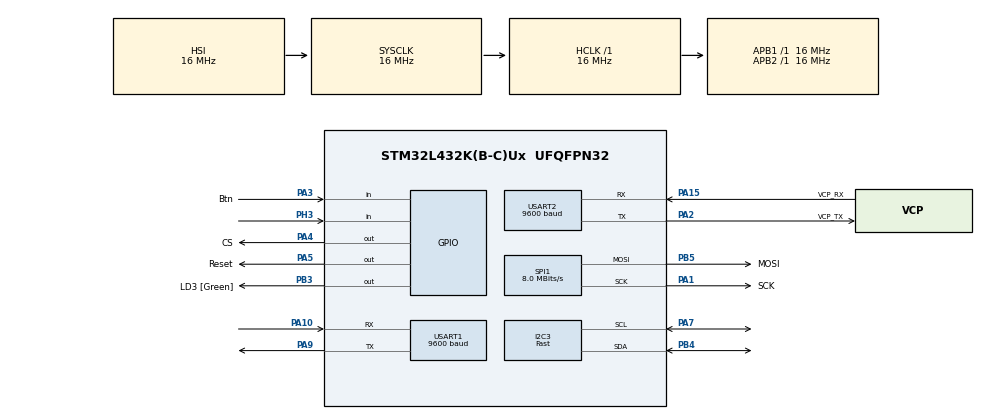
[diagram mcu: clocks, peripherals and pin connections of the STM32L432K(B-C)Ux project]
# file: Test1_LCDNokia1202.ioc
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Mcu.Family=STM32L4
RCC.CortexFreq_Value=16000000
SPI1.VirtualType=VM_MASTER
NVIC.TIM6_DAC_IRQn=true\:0\:0\:false\:false\:true\:true\:true
USART1.BaudRate=9600
PA3.GPIO_PuPd=GPIO_PULLUP
PA0.GPIO_Label=MCO [High speed clock in]
PA15\ (JTDI).Signal=USART2_RX
PC15-OSC32_OUT\ (PC15).Mode=LSE-External-Oscillator
RCC.SYSCLKSource=RCC_SYSCLKSOURCE_HSI
ProjectManager.StackSize=0x400
PB3\ (JTDO-TRACESWO).Signal=GPIO_Output
PC14-OSC32_IN\ (PC14).Mode=LSE-External-Oscillator
PA14\ (JTCK-SWCLK).Signal=SYS_JTCK-SWCLK
PA15\ (JTDI).Mode=Asynchronous
SPI1.Direction=SPI_DIRECTION_2LINES
RCC.HCLKFreq_Value=16000000
RCC.APB2TimFreq_Value=16000000
SPI1.CalculateBaudRate=8.0 MBits/s
RCC.AHBFreq_Value=16000000
I2C3.Speed=200
RCC.HSE_VALUE=8000000
USART2.VirtualMode-Asynchronous=VM_ASYNC
RCC.PLLMUL=RCC_PLLMUL_4
PA4.GPIO_Speed=GPIO_SPEED_FREQ_HIGH
NVIC.I2C3_EV_IRQn=true\:0\:0\:false\:false\:true\:true\:true
PB5.Mode=TX_Only_Simplex_Unidirect_Master
SPI1.DataSize=SPI_DATASIZE_9BIT
PA0.Mode=HSE-External-Clock-Source-for-LittleOrca
TIM6.Period=99
PA0.Signal=RCC_CK_IN
PH3-BOOT0.Signal=GPIO_Input
Mcu.Package=UFQFPN32
PA2.GPIO_Label=VCP_TX
PA10.Signal=USART1_RX
I2C3.Timing=0x00100B3D
PB5.GPIO_Label=MOSI
RCC.APB1TimFreq_Value=16000000
PA13\ (JTMS-SWDIO).Signal=SYS_JTMS-SWDIO
SPI1.BaudRatePrescaler=SPI_BAUDRATEPRESCALER_2
PA4.GPIO_Label=CS
RCC.HSI48_VALUE=48000000
PA3.Signal=GPIO_Input
RCC.MSI_VALUE=4000000
RCC.PLLSourceVirtual=RCC_PLLSOURCE_HSI
PA14\ (JTCK-SWCLK).Mode=Serial_Wire
PC15-OSC32_OUT\ (PC15).GPIO_Label=RCC_OUT
PA7.Mode=I2C
PA10.Mode=Asynchronous
TIM6.Prescaler=47999
VP_TIM6_VS_ClockSourceINT.Mode=Enable_Timer
PC15-OSC32_OUT\ (PC15).Signal=RCC_OSC32_OUT
PA14\ (JTCK-SWCLK).GPIO_Label=SWCLK
PB3\ (JTDO-TRACESWO).GPIO_Label=LD3 [Green]
PB3\ (JTDO-TRACESWO).GPIO_PuPd=GPIO_NOPULL
USART2.BaudRate=9600
USART1.VirtualMode-Asynchronous=VM_ASYNC
RCC.HSI16_VALUE=16000000
PA9.Mode=Asynchronous
ProjectManager.TargetToolchain=STM32CubeIDE
PA9.Signal=USART1_TX
RCC.USBFreq_Value=64000000
PA1.Signal=SPI1_SCK
PA5.Signal=GPIO_Output
board=NUCLEO-L432KC
RCC.VCOOutputFreq_Value=256000000
RCC.APB2Freq_Value=16000000
PA1.Mode=TX_Only_Simplex_Unidirect_Master
PA13\ (JTMS-SWDIO).GPIO_Label=SWDIO
SPI1.Mode=SPI_MODE_MASTER
RCC.ADCFreq_Value=64000000
PA1.GPIO_Label=SCK
PB4\ (NJTRST).Mode=I2C
PA15\ (JTDI).GPIO_Label=VCP_RX
Mcu.Name=STM32L432K(B-C)Ux
PA2.Signal=USART2_TX
PA13\ (JTMS-SWDIO).Mode=Serial_Wire
PA4.Signal=GPIO_Output
RCC.SYSCLKFreq_VALUE=16000000
PB5.Signal=SPI1_MOSI
PA5.GPIO_Label=Reset
PC14-OSC32_IN\ (PC14).Signal=RCC_OSC32_IN
ProjectManager.HeapSize=0x200
RCC.HSI_VALUE=16000000
PA5.GPIO_Speed=GPIO_SPEED_FREQ_LOW
NVIC.PriorityGroup=NVIC_PRIORITYGROUP_4
RCC.PLLN=16
PA2.Mode=Asynchronous
PB3\ (JTDO-TRACESWO).GPIO_Speed=GPIO_SPEED_FREQ_LOW
RCC.APB1Freq_Value=16000000
USART2.Mode=MODE_TX
PA3.GPIO_Label=Btn
PA7.Signal=I2C3_SCL
I2C3.I2C_Speed_Mode=I2C_Fast
PB4\ (NJTRST).Signal=I2C3_SDA

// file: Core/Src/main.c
/* USER CODE BEGIN Header */
/**
  ******************************************************************************
  * @file           : main.c
  * @brief          : Main program body
  ******************************************************************************
  * @attention
  *
  * <h2><center>&copy; Copyright (c) 2021 STMicroelectronics.
  * All rights reserved.</center></h2>
  *
  * This software component is licensed by ST under BSD 3-Clause license,
  * the "License"; You may not use this file except in compliance with the
  * License. You may obtain a copy of the License at:
  *                        opensource.org/licenses/BSD-3-Clause
  *
  ******************************************************************************
  */
/* USER CODE END Header */
#include "main.h"

I2C_HandleTypeDef hi2c3;

SPI_HandleTypeDef hspi1;

TIM_HandleTypeDef htim6;

UART_HandleTypeDef huart1;
UART_HandleTypeDef huart2;

void SystemClock_Config(void);
static void MX_GPIO_Init(void);
static void MX_USART2_UART_Init(void);
static void MX_SPI1_Init(void);
static void MX_I2C3_Init(void);
static void MX_USART1_UART_Init(void);
static void MX_TIM6_Init(void);

/* USER CODE BEGIN 0 */
uint16_t pause = 100;

#include "main.h"
#include "n1202.h"
#include "stdlib.h"

char str1[100];

void FloatToStringNew(char *str, float f, char size)

{

char pos;  // position in string

    char len;  // length of decimal part of result

    char* curr;  // temp holder for next digit

    int value;  // decimal digit(s) to convert

    pos = 0;  // initialize pos, just to be sure

    value = (int)f;  // truncate the floating point number
    itoa(value,str, 10);  // this is kinda dangerous depending on the length of str
    // now str array has the digits before the decimal

    if (f < 0 )  // handle negative numbers
    {
        f *= -1;
        value *= -1;
    }

     len = strlen(str);  // find out how big the integer part was
    pos = len;  // position the pointer to the end of the integer part
    str[pos++] = '.';  // add decimal point to string

    while(pos < (size + len + 1) )  // process remaining digits
    {
        f = f - (float)value;  // hack off the whole part of the number
        f *= 10;  // move next digit over
        value = (int)f;  // get next digit
        itoa(value, curr, 10); // convert digit to string
        str[pos++] = *curr; // add digit to result string and increment pointer
    }
 }

//***********************
//Display
//***********************

//#define soft_SPI //реализация софтверного SPI если ваш контроллер не поддерживает работу в 9 битнои режиме
#define HAL	//если используем HAL раскомментируйте эту строку
#define RESET_Pin Reset_Pin

#define CS_GPIO_Port GPIOA
#define RESET_GPIO_Port GPIOA

#define MOSI_GPIO_Port GPIOB
#define SCK_GPIO_Port GPIOA

uint8_t _LCD_RAM[LCD_X*9]; // Память нашего LCD

void delay_us ( uint32_t us )
{
volatile uint32_t delay = (us * (SystemCoreClock / 1000000)/8);
while (delay--);
}

void delay_ms ( uint32_t ms )
{
volatile uint32_t delay = (ms * (SystemCoreClock / 1000)/8);
while (delay--);
}

void LCD_SendByte(uint8_t mode, uint8_t c)
	{
		uint8_t SPI_Data[2];

		HAL_GPIO_WritePin(CS_GPIO_Port, CS_Pin, GPIO_PIN_RESET);
		SPI_Data[0] = c;
		SPI_Data[1] = mode;
		HAL_SPI_Transmit(&hspi1, SPI_Data, 1, 5);
		//delay_us(1);
		HAL_GPIO_WritePin(CS_GPIO_Port, CS_Pin, GPIO_PIN_SET);
	}

	// Очистка памяти дисплея
void LCD_Clear(void) {
	 for (int index = 0; index < 864 ; index++){
	_LCD_RAM[index] = (0x00);
	 }
}

// Обновляем данные на экране
void LCD_Update(void) {
  for(uint8_t p = 0; p < 9; p++) {
    LCD_SendByte(LCD_C, SetYAddr | p);
    LCD_SendByte(LCD_C, SetXAddr4);
    LCD_SendByte(LCD_C, SetXAddr3);
    for(uint8_t col=0; col < LCD_X; col++){
      LCD_SendByte(LCD_D, _LCD_RAM[(LCD_X * p) + col]);
    }
  }
}

// Рисование пикселя по координатам и цвету
void LCD_DrawPixel (uint8_t x, uint8_t y, uint8_t color) {
  if ((x < 0) || (x >= LCD_X) || (y < 0) || (y >= LCD_Y)) return;

  if (color) _LCD_RAM[x+ (y/8)*LCD_X] |= 1<<(y%8);
  else       _LCD_RAM[x+ (y/8)*LCD_X] &= ~(1<<(y%8));
}

// Рисование линии
void LCD_DrawLine(uint8_t x0, uint8_t y0, uint8_t x1, uint8_t y1, uint8_t color) {
  int steep = abs(y1 - y0) > abs(x1 - x0);
  if (steep) {
    swap(x0, y0);
    swap(x1, y1);
  }
  if (x0 > x1) {
    swap(x0, x1);
    swap(y0, y1);
  }
  int dx, dy;
  dx = x1 - x0;
  dy = abs(y1 - y0);
  int err = dx / 2;
  int ystep;
  if (y0 < y1) {ystep = 1;}
  else {ystep = -1;};
  for ( ; x0 <= x1; x0++) {
    if (steep) {LCD_DrawPixel(y0, x0, color);}
    else {LCD_DrawPixel(x0, y0, color);};
		err -= dy;
    if (err < 0) {
      y0 += ystep;
      err += dx;
    }
  }
}

// Рисование вертикальной линии
void LCD_DrawFastVLine(uint8_t x, uint8_t y, uint8_t h, uint8_t color) {
  LCD_DrawLine(x, y, x, y+h-1, color);
}

// Рисование горизонтальной линии
void LCD_DrawFastHLine(uint8_t x, uint8_t y, uint8_t w, uint8_t color) {
  LCD_DrawLine(x, y, x+w-1, y, color);
}

// Рисование прямоугольника
void LCD_DrawRect(uint8_t x, uint8_t y, uint8_t w, uint8_t h, uint8_t color) {
  LCD_DrawFastHLine(x, y, w, color);
  LCD_DrawFastHLine(x, y+h-1, w, color);
  LCD_DrawFastVLine(x, y, h, color);
  LCD_DrawFastVLine(x+w-1, y, h, color);
}

// Рисование залитый прямоугольник
void LCD_FillRect(uint8_t x, uint8_t y, uint8_t w, uint8_t h, uint8_t color) {
  for (int16_t i=x; i<x+w; i++) {
    LCD_DrawFastVLine(i, y, h, color);
  }
}

// Заливка экрана
void LCD_FillScreen(uint8_t color) {
  LCD_FillRect(0, 0, LCD_X, LCD_Y, color);
}

// Нарисовать букву
void LCD_DrawChar(uint8_t x, uint8_t y, uint8_t color, unsigned char c) {
  if((x >= LCD_X) ||(y >= LCD_Y) || ((x + 4) < 0) || ((y + 7) < 0)) return;
  if(c<128)            c = c-32;
  if(c>=144 && c<=175) c = c-48;
  if(c>=128 && c<=143) c = c+16;
  if(c>=176 && c<=191) c = c-48;
  if(c>191)  return;
  for (uint8_t i=0; i<6; i++ ) {
    uint8_t line;
    if (i == 5) {line = 0x00;}
    else {line = font[(c*5)+i];
    for (uint8_t j = 0; j<8; j++)
			{
				if (line & 0x01) {LCD_DrawPixel(x+i, y+j, color);}
				else {LCD_DrawPixel(x+i, y+j, !color);};
				line >>= 1;
			}
		}
  }
}

// Вывод строки
void LCD_print(uint8_t x, uint8_t y, uint8_t color, char *str) {
  unsigned char type = *str;
  if(type>=128) x=x-3;
  while(*str){
    LCD_DrawChar(x, y, color, *str++);
    unsigned char type = *str;
    if (type>=128) {x=x+3;}
    else {x=x+6;};
  }
}

/*
// Вывод числовых значений
// закомментировал ибо  много памяти сжирает
void LCD_write(uint8_t x, uint8_t y, uint8_t color, float num){
  char c[10];
//	sprintf(c, "text %f\n", num);
	sprintf(c, "%5.2f", num);
  LCD_print(x, y, color, c);
}
*/
static const char fillDrop[] = {
	0x00, 0x00, 0x00, 0x00, 0x01, 0x00, 0x00, 0x00, 0x00,
	0x00, 0x00, 0x00, 0x01, 0x01, 0x01, 0x00, 0x00, 0x00,
	0x00, 0x00, 0x00, 0x01, 0x01, 0x01, 0x00, 0x00, 0x00,
	0x00, 0x00, 0x01, 0x01, 0x01, 0x01, 0x01, 0x00, 0x00,
	0x00, 0x00, 0x01, 0x01, 0x01, 0x01, 0x01, 0x00, 0x00,
	0x00, 0x01, 0x01, 0x01, 0x01, 0x01, 0x01, 0x01, 0x00,
	0x00, 0x01, 0x01, 0x01, 0x01, 0x01, 0x01, 0x01, 0x00,
	0x00, 0x00, 0x01, 0x01, 0x01, 0x01, 0x01, 0x00, 0x00,
	0x00, 0x00, 0x00, 0x01, 0x01, 0x01, 0x00, 0x00, 0x00,
};
static const char unFillDrop[] = {
	0x00, 0x00, 0x00, 0x00, 0x01, 0x00, 0x00, 0x00, 0x00,
	0x00, 0x00, 0x00, 0x01, 0x00, 0x01, 0x00, 0x00, 0x00,
	0x00, 0x00, 0x00, 0x01, 0x00, 0x01, 0x00, 0x00, 0x00,
	0x00, 0x00, 0x01, 0x00, 0x00, 0x00, 0x01, 0x00, 0x00,
	0x00, 0x00, 0x01, 0x00, 0x00, 0x00, 0x01, 0x00, 0x00,
	0x00, 0x01, 0x00, 0x00, 0x00, 0x00, 0x00, 0x01, 0x00,
	0x00, 0x01, 0x00, 0x00, 0x00, 0x00, 0x00, 0x01, 0x00,
	0x00, 0x00, 0x01, 0x00, 0x00, 0x00, 0x01, 0x00, 0x00,
	0x00, 0x00, 0x00, 0x01, 0x01, 0x01, 0x00, 0x00, 0x00,
};

static const char halfFillDrop[] = {
	0x00, 0x00, 0x00, 0x00, 0x01, 0x00, 0x00, 0x00, 0x00,
	0x00, 0x00, 0x00, 0x01, 0x00, 0x01, 0x00, 0x00, 0x00,
	0x00, 0x00, 0x00, 0x01, 0x00, 0x01, 0x00, 0x00, 0x00,
	0x00, 0x00, 0x01, 0x00, 0x00, 0x01, 0x01, 0x00, 0x00,
	0x00, 0x00, 0x01, 0x00, 0x00, 0x01, 0x01, 0x00, 0x00,
	0x00, 0x01, 0x00, 0x00, 0x00, 0x01, 0x01, 0x01, 0x00,
	0x00, 0x01, 0x00, 0x00, 0x00, 0x01, 0x01, 0x01, 0x00,
	0x00, 0x00, 0x01, 0x00, 0x00, 0x01, 0x01, 0x00, 0x00,
	0x00, 0x00, 0x00, 0x01, 0x01, 0x01, 0x00, 0x00, 0x00,
};

// Вывод картинки
void LCD_DrawBitmap(uint8_t x, uint8_t y, const char *bitmap, uint8_t w, uint8_t h, uint8_t color) {
	for (int16_t i=0; i < h; i++)
    {
		for (int16_t j=0; j < w; j++ )
		{
			if (bitmap[i*w + j] >= 0x01)
			{
				LCD_DrawPixel(x+j, y+i, color);
			}
		}
    }
}

// Очистка области
void LCD_ClearBitmap(uint8_t x, uint8_t y, uint8_t w, uint8_t h, uint8_t color) {
	for (int16_t i=0; i < h; i++)
    {
		for (int16_t j=0; j < w; j++ )
		{
			LCD_DrawPixel(x+j, y+i, color);
		}
    }
}
// �?нициализируем дисплей
void LCD_Init(void) {
  // �?нициализация дисплея
	HAL_GPIO_WritePin(RESET_GPIO_Port, RESET_Pin, GPIO_PIN_RESET); // Активируем ресет
	delay_ms(10);
	HAL_GPIO_WritePin(RESET_GPIO_Port, RESET_Pin, GPIO_PIN_SET);   // Деактивируем ресет

	HAL_GPIO_WritePin(CS_GPIO_Port, CS_Pin, GPIO_PIN_RESET);			 // Выбираем дисплей
	// Задержка
  	delay_ms(5);
  	HAL_GPIO_WritePin(CS_GPIO_Port, CS_Pin, GPIO_PIN_SET);			 // Выбираем дисплей
	delay_ms(1);
	LCD_SendByte(LCD_C, 0xE2);  // Сброс чипа
	LCD_SendByte(LCD_C, 0xE2);  // Сброс чипа ещё раз, глюк аппаратного spi

	delay_ms(5);
  // Устанавливаем энергию заряда сегмента
	LCD_SendByte(LCD_C, 0x3D);  // Умножитель энергии заряда
	LCD_SendByte(LCD_C, 0x02); 	// Не понятное значение умножителя
  // Команда и следом данные по контрастности
	LCD_SendByte(LCD_C, 0xE1);  // Additional VOP for contrast increase
 	LCD_SendByte(LCD_C, 0x90);  // from -127 to +127
  // Устанавливаем режим работы Normal
 	LCD_SendByte(LCD_C, 0xA4);  // Power saver off

	LCD_SendByte(LCD_C, 0x2F);  // Booster ON Voltage regulator ON Voltage follover ON
	LCD_SendByte(LCD_C, 0xA0);  // Segment driver direction select: Normal
	LCD_SendByte(LCD_C, 0xAF);  // Включение дисплея
	//LCD_SendByte(LCD_C, 0xAD);
	delay_ms(10);
  // Очищаем, обновляем

  LCD_Clear();
  LCD_Update();
}

void drawWiFi(int countDiv)
{
	if(countDiv > 4)
	{
#ifdef MY_DEBUG
		assert(!(countDiv > 4));
#else
		countDiv = 4;
#endif
	}
	else if(countDiv < 0)
	{
#ifdef MY_DEBUG
		assert(!(countDiv < 0));
#else
		countDiv = 0;
#endif
	}

	LCD_DrawFastVLine(5, 1, 9, 1);
	LCD_DrawFastHLine(1, 1, 9, 1);

	LCD_DrawPixel(2, 2, 1);
	LCD_DrawPixel(3, 3, 1);
	LCD_DrawPixel(4, 4, 1);

	LCD_DrawPixel(6, 4, 1);
	LCD_DrawPixel(7, 3, 1);
	LCD_DrawPixel(8, 2, 1);

	if(countDiv != 0)
	{
		int startX = 8;
		int stepX = 3;
		int startY = 7;
		int stepY = 2;
		int endY = 3;
		for(int i = 0; i < countDiv; i++)
		{
			int step = i * stepY;
			LCD_DrawFastVLine(startX + i*stepX, startY - step, endY + step, 1);
		}
	}
	else
	{
		int size = 7;
		for(int i = 0; i < size; i++)
		{
			for(int j = 0; j < size; j++)
			{
				if(i == j)
					LCD_DrawPixel(10 + i, 3 + j, 1);
				if(i + j == size - 1)
					LCD_DrawPixel(10 + i, 3 + j, 1);
			}
		}
	}
}

void LCD_ClearWifi() {
	int x = 1;
	int y = 1;
	int w = 18;
	int h = 11;
	int color = 0;
	for (int16_t i=0; i < h; i++)
    {
		for (int16_t j=0; j < w; j++ )
		{
			LCD_DrawPixel(x+j, y+i, color);
		}
    }
}

void drawStream()
{
  	for(int i = 0; i < 6; i++)
  	{
  		int stepY = 10;
  		for(int j = 0; j < 4; j++)
  		{
  			LCD_DrawFastVLine(j*2 ,2 + j*2 + i*stepY, 4 + j*2, 1);
  			LCD_Update();
  		}

  		for(int j = 3; j >= 0; j--)
  		{
  			LCD_DrawFastVLine(16 - j*2 , 2 + j*2 + i*stepY, 4 + j*2, 1);
  			LCD_Update();
  		}

  	}
  	return;
}

void LCD_Battery(int countDiv)
{
	if(countDiv > 4)
	{
#ifdef MY_DEBUG
		assert(!(countDiv > 4));
#else
		countDiv = 4;
#endif
	}
	else if(countDiv < 0)
	{
#ifdef MY_DEBUG
		assert(!(countDiv < 0));
#else
		countDiv = 1;
#endif
	}

	LCD_DrawRect(96-18, 2, 15, 8, 1);
	LCD_DrawPixel(96-2, 3, 1);
	LCD_DrawPixel(96-2, 8, 1);
	LCD_DrawPixel(96-3, 3, 1);
	LCD_DrawPixel(96-3, 8, 1);

	LCD_DrawPixel(96-2, 3, 1);
	LCD_DrawPixel(96-2, 4, 1);
	LCD_DrawPixel(96-2, 5, 1);
	LCD_DrawPixel(96-2, 6, 1);
	LCD_DrawPixel(96-2, 7, 1);
	LCD_DrawPixel(96-2, 8, 1);

	int offsetX = 16;
	for(int i = 0; i < countDiv; i++)
	{
		LCD_FillRect(LCD_X - offsetX + i*3, 4, 2, 4, 1);
	}
}

void LCD_ClearBattery()
{
	int offsetX = 18;
	int x = LCD_X - offsetX;
	int y = 1;
	int w = 17;
	int h = 9;
	int color = 0;
	for (int16_t i=0; i < h; i++)
    {
		for (int16_t j=0; j < w; j++ )
		{
			LCD_DrawPixel(x+j, y+i, color);
		}
    }
}

int flag = 0;

void testDisplay()
{
	//LCD_Clear();
	LCD_print(0, 30, 1, "17:34 24/03/2021");
	LCD_Update();

	LCD_ClearWifi();
	drawWiFi(4);

	LCD_DrawBitmap(19, 1, fillDrop, 9, 9, 1);
	LCD_DrawBitmap(27, 1, unFillDrop, 9, 9, 1);
	LCD_DrawBitmap(36, 1, halfFillDrop, 9, 9, 1);

	LCD_ClearBattery();
	LCD_Battery(4);

	LCD_Update();
	/*if(flag == 0)
	{
		LCD_DrawBitmap(19, 1, fillDrop, 9, 9, 1);
		LCD_DrawBitmap(27, 1, unFillDrop, 9, 9, 1);
		LCD_DrawBitmap(36, 1, halfFillDrop, 9, 9, 1);
		flag = 1;
	}
	else
	{
		LCD_ClearBitmap(19, 1, 7, 7, 0);
		LCD_ClearBitmap(27, 1, 7, 7, 0);
		LCD_ClearBitmap(36, 1, 7, 7, 0);
		flag = 0;
	}
	LCD_Update();
	*/
	HAL_Delay(1000);
	//Test Wifi
	LCD_ClearWifi();
	drawWiFi(4);
	LCD_print(0, 30, 1, "4 division");
	LCD_Update();
	HAL_Delay(1000);
	LCD_ClearWifi();
	drawWiFi(3);
	LCD_print(0, 30, 1, "3 division");
	LCD_Update();
	HAL_Delay(1000);
	LCD_ClearWifi();
	drawWiFi(2);
	LCD_print(0, 30, 1, "2 division");
	LCD_Update();
	HAL_Delay(1000);
	LCD_ClearWifi();
	drawWiFi(1);
	LCD_print(0, 30, 1, "1 division");
	LCD_Update();
	HAL_Delay(1000);
	LCD_ClearWifi();
	drawWiFi(0);
	LCD_print(0, 30, 1, "not signal");
	LCD_Update();
	HAL_Delay(1000);
	// Test Battery
	LCD_ClearBattery();
	LCD_Battery(4);
	LCD_print(0, 30, 1, "4 division");
	LCD_Update();
	HAL_Delay(1000);
	LCD_ClearBattery();
	LCD_Battery(3);
	LCD_print(0, 30, 1, "3 division");
	LCD_Update();
	HAL_Delay(1000);
	LCD_ClearBattery();
	LCD_Battery(2);
	LCD_print(0, 30, 1, "2 division");
	LCD_Update();
	HAL_Delay(1000);

	LCD_ClearBattery();
	LCD_Battery(1);
	LCD_print(0, 30, 1, "1 division");
	LCD_Update();
	HAL_Delay(1000);

	for(int i = 0; i < 3; i++)
	{
		LCD_ClearBattery();
		LCD_Update();
		HAL_Delay(500);
		LCD_Battery(1);
		LCD_Update();
		HAL_Delay(500);
	}

	HAL_Delay(1000);
}

/* USER CODE END 0 */

int main(void)
{

  /* MCU Configuration--------------------------------------------------------*/

  /* Reset of all peripherals, Initializes the Flash interface and the Systick. */
  HAL_Init();

  /* Configure the system clock */
  SystemClock_Config();

  /* Initialize all configured peripherals */
  MX_GPIO_Init();
  MX_USART2_UART_Init();
  MX_SPI1_Init();
  MX_I2C3_Init();
  MX_USART1_UART_Init();
  MX_TIM6_Init();
  /* USER CODE BEGIN 2 */
  HAL_TIM_Base_Start_IT(&htim6);

 // HAL_UART_Transmit(&huart1, (uint8_t*)"Hello\n", 6, 1000 );
  //	HAL_Delay(1000);

  	//LCD_Init();
  	//HAL_Delay(500);

/*
  	RTC_DateTime.RTC_Date = 22;
  	RTC_DateTime.RTC_Month = 9;
  	RTC_DateTime.RTC_Year = 2016;

  	RTC_DateTime.RTC_Hours = 14;
  	RTC_DateTime.RTC_Minutes = 30;
  	RTC_DateTime.RTC_Seconds = 00;

  			//После инициализации требуется задержка. Без нее время не устанавливается.
  	HAL_Delay(500);*/
   // RTC_SetCounter(RTC_GetRTC_Counter(&RTC_DateTime));

  	float tf = 0.0f, pf = 0.0f, af = 0.0f, hf = 0.0f;
  	BME280_Init();
  /* USER CODE END 2 */

  /* Infinite loop */
  while (1)
  {

    /* USER CODE BEGIN 3 */
	  HAL_GPIO_WritePin(GPIOB, GPIO_PIN_3, GPIO_PIN_SET);

	  tf = BME280_ReadTemperature(&huart2);

	  		int si = sprintf((char*)str1, "Temperature: %d", (int)tf);
	  		HAL_UART_Transmit(&huart2,(uint8_t*)str1, si, 0x1000);
	  		//LCD_SetPos(0, 0);
	  		sprintf(str1, "%11.3f *C", tf);
	  		HAL_UART_Transmit(&huart2,(uint8_t*)str1,strlen(str1),0x1000);
	  		//LCD_String(str1);
	  		pf = BME280_ReadPressure();
	  		sprintf(str1, "Pressure: %.3f Pa; %.3f hPa; %.3f mmHg\r\n", pf, pf/1000.0f, pf * 0.000750061683f); // @suppress("Float formatting support")
	  		HAL_UART_Transmit(&huart2,(uint8_t*)str1,strlen(str1),0x1000);
	  		//LCD_SetPos(0, 1);
	  		sprintf(str1, "%11.3f hPa", pf/1000.0f); // @suppress("Float formatting support")
	  		//LCD_String(str1);
	  		//LCD_SetPos(0, 2);
	  		sprintf(str1, "%11.3f mmHg", pf * 0.000750061683f); // @suppress("Float formatting support")
	  		//LCD_String(str1);
	  		//af = BME280_ReadAltitude(SEALEVELPRESSURE_PA);
	  		//sprintf(str1, "Altitude: %.3f m\r\n", af); // @suppress("Float formatting support")
	  		//HAL_UART_Transmit(&huart2,(uint8_t*)str1,strlen(str1),0x1000);
	  		hf = BME280_ReadHumidity();
	  		sprintf(str1, "Humidity: %.3f %%\r\n", hf); // @suppress("Float formatting support")
	  		HAL_UART_Transmit(&huart2,(uint8_t*)str1,strlen(str1),0x1000);
	  		//LCD_SetPos(0, 3);
	  		sprintf(str1, "%7.3f %% %4.1f m", hf, af); // @suppress("Float formatting support")
	  		//LCD_String(str1);
	  		HAL_Delay(1000);

	// LCD_DrawRect(10, 10, 20, 20, 1);

	  //HAL_UART_Transmit(&huart1, (uint8_t*)"Hello\n", 6, 1000 );
	  //HAL_UART_Transmit(&huart2, (uint8_t*)str, strlen(str), 1000);
	 // HAL_Delay(1000);
	 // HAL_GPIO_TooglePin()

	  testDisplay();

  }
  /* USER CODE END 3 */
}

void SystemClock_Config(void)
{
  RCC_OscInitTypeDef RCC_OscInitStruct = {0};
  RCC_ClkInitTypeDef RCC_ClkInitStruct = {0};
  RCC_PeriphCLKInitTypeDef PeriphClkInit = {0};

  /** Initializes the RCC Oscillators according to the specified parameters
  * in the RCC_OscInitTypeDef structure.
  */
  RCC_OscInitStruct.OscillatorType = RCC_OSCILLATORTYPE_HSI;
  RCC_OscInitStruct.HSIState = RCC_HSI_ON;
  RCC_OscInitStruct.HSICalibrationValue = RCC_HSICALIBRATION_DEFAULT;
  RCC_OscInitStruct.PLL.PLLState = RCC_PLL_NONE;
  if (HAL_RCC_OscConfig(&RCC_OscInitStruct) != HAL_OK)
  {
    Error_Handler();
  }
  /** Initializes the CPU, AHB and APB buses clocks
  */
  RCC_ClkInitStruct.ClockType = RCC_CLOCKTYPE_HCLK|RCC_CLOCKTYPE_SYSCLK
                              |RCC_CLOCKTYPE_PCLK1|RCC_CLOCKTYPE_PCLK2;
  RCC_ClkInitStruct.SYSCLKSource = RCC_SYSCLKSOURCE_HSI;
  RCC_ClkInitStruct.AHBCLKDivider = RCC_SYSCLK_DIV1;
  RCC_ClkInitStruct.APB1CLKDivider = RCC_HCLK_DIV1;
  RCC_ClkInitStruct.APB2CLKDivider = RCC_HCLK_DIV1;

  if (HAL_RCC_ClockConfig(&RCC_ClkInitStruct, FLASH_LATENCY_0) != HAL_OK)
  {
    Error_Handler();
  }
  PeriphClkInit.PeriphClockSelection = RCC_PERIPHCLK_USART1|RCC_PERIPHCLK_USART2
                              |RCC_PERIPHCLK_I2C3;
  PeriphClkInit.Usart1ClockSelection = RCC_USART1CLKSOURCE_PCLK2;
  PeriphClkInit.Usart2ClockSelection = RCC_USART2CLKSOURCE_PCLK1;
  PeriphClkInit.I2c3ClockSelection = RCC_I2C3CLKSOURCE_PCLK1;
  if (HAL_RCCEx_PeriphCLKConfig(&PeriphClkInit) != HAL_OK)
  {
    Error_Handler();
  }
  /** Configure the main internal regulator output voltage
  */
  if (HAL_PWREx_ControlVoltageScaling(PWR_REGULATOR_VOLTAGE_SCALE1) != HAL_OK)
  {
    Error_Handler();
  }
}

static void MX_I2C3_Init(void)
{

  hi2c3.Instance = I2C3;
  hi2c3.Init.Timing = 0x00100B3D;
  hi2c3.Init.OwnAddress1 = 0;
  hi2c3.Init.AddressingMode = I2C_ADDRESSINGMODE_7BIT;
  hi2c3.Init.DualAddressMode = I2C_DUALADDRESS_DISABLE;
  hi2c3.Init.OwnAddress2 = 0;
  hi2c3.Init.OwnAddress2Masks = I2C_OA2_NOMASK;
  hi2c3.Init.GeneralCallMode = I2C_GENERALCALL_DISABLE;
  hi2c3.Init.NoStretchMode = I2C_NOSTRETCH_DISABLE;
  if (HAL_I2C_Init(&hi2c3) != HAL_OK)
  {
    Error_Handler();
  }
  /** Configure Analogue filter
  */
  if (HAL_I2CEx_ConfigAnalogFilter(&hi2c3, I2C_ANALOGFILTER_ENABLE) != HAL_OK)
  {
    Error_Handler();
  }
  /** Configure Digital filter
  */
  if (HAL_I2CEx_ConfigDigitalFilter(&hi2c3, 0) != HAL_OK)
  {
    Error_Handler();
  }

}

static void MX_SPI1_Init(void)
{

  /* SPI1 parameter configuration*/
  hspi1.Instance = SPI1;
  hspi1.Init.Mode = SPI_MODE_MASTER;
  hspi1.Init.Direction = SPI_DIRECTION_2LINES;
  hspi1.Init.DataSize = SPI_DATASIZE_9BIT;
  hspi1.Init.CLKPolarity = SPI_POLARITY_LOW;
  hspi1.Init.CLKPhase = SPI_PHASE_1EDGE;
  hspi1.Init.NSS = SPI_NSS_SOFT;
  hspi1.Init.BaudRatePrescaler = SPI_BAUDRATEPRESCALER_2;
  hspi1.Init.FirstBit = SPI_FIRSTBIT_MSB;
  hspi1.Init.TIMode = SPI_TIMODE_DISABLE;
  hspi1.Init.CRCCalculation = SPI_CRCCALCULATION_DISABLE;
  hspi1.Init.CRCPolynomial = 7;
  hspi1.Init.CRCLength = SPI_CRC_LENGTH_DATASIZE;
  hspi1.Init.NSSPMode = SPI_NSS_PULSE_ENABLE;
  if (HAL_SPI_Init(&hspi1) != HAL_OK)
  {
    Error_Handler();
  }

}

static void MX_TIM6_Init(void)
{

  TIM_MasterConfigTypeDef sMasterConfig = {0};

  htim6.Instance = TIM6;
  htim6.Init.Prescaler = 47999;
  htim6.Init.CounterMode = TIM_COUNTERMODE_UP;
  htim6.Init.Period = 99;
  htim6.Init.AutoReloadPreload = TIM_AUTORELOAD_PRELOAD_DISABLE;
  if (HAL_TIM_Base_Init(&htim6) != HAL_OK)
  {
    Error_Handler();
  }
  sMasterConfig.MasterOutputTrigger = TIM_TRGO_RESET;
  sMasterConfig.MasterSlaveMode = TIM_MASTERSLAVEMODE_DISABLE;
  if (HAL_TIMEx_MasterConfigSynchronization(&htim6, &sMasterConfig) != HAL_OK)
  {
    Error_Handler();
  }

}

static void MX_USART1_UART_Init(void)
{

  huart1.Instance = USART1;
  huart1.Init.BaudRate = 9600;
  huart1.Init.WordLength = UART_WORDLENGTH_8B;
  huart1.Init.StopBits = UART_STOPBITS_1;
  huart1.Init.Parity = UART_PARITY_NONE;
  huart1.Init.Mode = UART_MODE_TX_RX;
  huart1.Init.HwFlowCtl = UART_HWCONTROL_NONE;
  huart1.Init.OverSampling = UART_OVERSAMPLING_16;
  huart1.Init.OneBitSampling = UART_ONE_BIT_SAMPLE_DISABLE;
  huart1.AdvancedInit.AdvFeatureInit = UART_ADVFEATURE_NO_INIT;
  if (HAL_UART_Init(&huart1) != HAL_OK)
  {
    Error_Handler();
  }

}

static void MX_USART2_UART_Init(void)
{

  huart2.Instance = USART2;
  huart2.Init.BaudRate = 9600;
  huart2.Init.WordLength = UART_WORDLENGTH_8B;
  huart2.Init.StopBits = UART_STOPBITS_1;
  huart2.Init.Parity = UART_PARITY_NONE;
  huart2.Init.Mode = UART_MODE_TX;
  huart2.Init.HwFlowCtl = UART_HWCONTROL_NONE;
  huart2.Init.OverSampling = UART_OVERSAMPLING_16;
  huart2.Init.OneBitSampling = UART_ONE_BIT_SAMPLE_DISABLE;
  huart2.AdvancedInit.AdvFeatureInit = UART_ADVFEATURE_NO_INIT;
  if (HAL_UART_Init(&huart2) != HAL_OK)
  {
    Error_Handler();
  }

}

static void MX_GPIO_Init(void)
{
  GPIO_InitTypeDef GPIO_InitStruct = {0};

  /* GPIO Ports Clock Enable */
  __HAL_RCC_GPIOC_CLK_ENABLE();
  __HAL_RCC_GPIOA_CLK_ENABLE();
  __HAL_RCC_GPIOB_CLK_ENABLE();
  __HAL_RCC_GPIOH_CLK_ENABLE();

  /*Configure GPIO pin Output Level */
  HAL_GPIO_WritePin(GPIOA, CS_Pin|Reset_Pin, GPIO_PIN_RESET);

  /*Configure GPIO pin Output Level */
  HAL_GPIO_WritePin(LD3_GPIO_Port, LD3_Pin, GPIO_PIN_RESET);

  /*Configure GPIO pin : Btn_Pin */
  GPIO_InitStruct.Pin = Btn_Pin;
  GPIO_InitStruct.Mode = GPIO_MODE_INPUT;
  GPIO_InitStruct.Pull = GPIO_PULLUP;
  HAL_GPIO_Init(Btn_GPIO_Port, &GPIO_InitStruct);

  /*Configure GPIO pin : CS_Pin */
  GPIO_InitStruct.Pin = CS_Pin;
  GPIO_InitStruct.Mode = GPIO_MODE_OUTPUT_PP;
  GPIO_InitStruct.Pull = GPIO_NOPULL;
  GPIO_InitStruct.Speed = GPIO_SPEED_FREQ_HIGH;
  HAL_GPIO_Init(CS_GPIO_Port, &GPIO_InitStruct);

  /*Configure GPIO pin : Reset_Pin */
  GPIO_InitStruct.Pin = Reset_Pin;
  GPIO_InitStruct.Mode = GPIO_MODE_OUTPUT_PP;
  GPIO_InitStruct.Pull = GPIO_NOPULL;
  GPIO_InitStruct.Speed = GPIO_SPEED_FREQ_LOW;
  HAL_GPIO_Init(Reset_GPIO_Port, &GPIO_InitStruct);

  /*Configure GPIO pin : LD3_Pin */
  GPIO_InitStruct.Pin = LD3_Pin;
  GPIO_InitStruct.Mode = GPIO_MODE_OUTPUT_PP;
  GPIO_InitStruct.Pull = GPIO_NOPULL;
  GPIO_InitStruct.Speed = GPIO_SPEED_FREQ_LOW;
  HAL_GPIO_Init(LD3_GPIO_Port, &GPIO_InitStruct);

  /*Configure GPIO pin : PH3 */
  GPIO_InitStruct.Pin = GPIO_PIN_3;
  GPIO_InitStruct.Mode = GPIO_MODE_INPUT;
  GPIO_InitStruct.Pull = GPIO_NOPULL;
  HAL_GPIO_Init(GPIOH, &GPIO_InitStruct);

}

/* USER CODE BEGIN 4 */
  int ttt = 20;
/* USER CODE END 4 */

void Error_Handler(void)
{
  __disable_irq();
  while (1)
  {
  }
}

/************************ (C) COPYRIGHT STMicroelectronics *****END OF FILE****/
